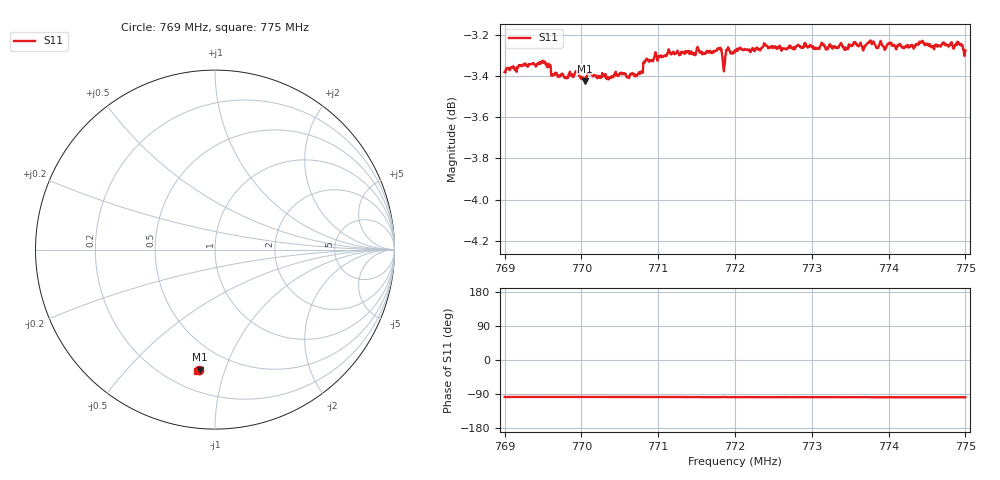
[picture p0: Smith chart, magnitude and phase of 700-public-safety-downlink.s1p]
! Calibrated averaged scanner-service zoom
# Hz S RI R 50
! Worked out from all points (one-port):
!   1001 points, 769 MHz to 775 MHz, reference 50 ohm
!   lowest |S11| = -3.4 dB at 770.044 MHz (marker M1), VSWR 5.14, Z = 16.8 - j41.1 ohm
!   |S11| at or under -10 dB: nowhere
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7.69e8  -0.0896 -0.6717
7.69498e8  -0.0876 -0.6759
7.69636e8  -0.0864 -0.6711
7.6975e8  -0.0878 -0.6714
7.69888e8  -0.0869 -0.6702
7.69954e8  -0.0908 -0.6718
7.70044e8  -0.0862 -0.6688
7.70104e8  -0.0878 -0.6714
7.70224e8  -0.0906 -0.67
7.705e8  -0.0899 -0.6712
7.70728e8  -0.0899 -0.6706
7.70842e8  -0.0886 -0.6767
7.7125e8  -0.091 -0.6797
7.7137e8  -0.0907 -0.6791
7.71502e8  -0.0974 -0.6797
7.717e8  -0.0946 -0.6787
7.71796e8  -0.0974 -0.6797
7.7185e8  -0.091 -0.6732
7.71904e8  -0.0971 -0.6794
7.72e8  -0.0972 -0.6783
7.7275e8  -0.0954 -0.68
7.735e8  -0.098 -0.6809
7.73776e8  -0.098 -0.682
7.73848e8  -0.1 -0.6794
7.7425e8  -0.1003 -0.6807
7.7458e8  -0.0991 -0.6804
7.74916e8  -0.101 -0.6812
7.75e8  -0.1003 -0.6785
